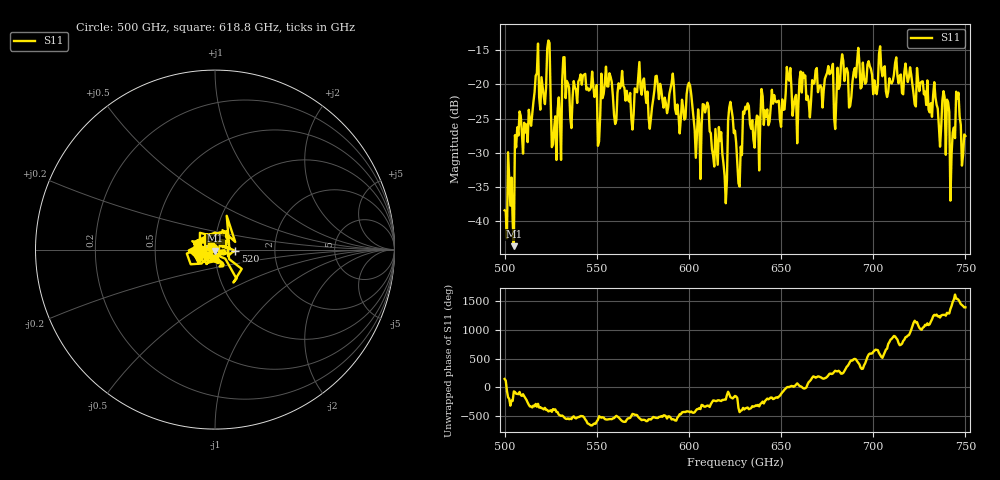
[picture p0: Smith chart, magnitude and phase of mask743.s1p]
!Created with skrf (http://scikit-rf.org).
# GHz S MA R 50.0
!freq magS11 angS11
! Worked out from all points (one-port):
!   401 points, 500 GHz to 750 GHz, reference 50 ohm
!   lowest |S11| = -43.7 dB at 505 GHz (marker M1), VSWR 1.01, Z = 50.2 - j0.626 ohm
!   |S11| at or under -10 dB: start of sweep to end of sweep
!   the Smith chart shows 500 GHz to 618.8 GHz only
!   S11 on the Smith chart (normalised r, x): 500 GHz: 0.98, +0.01; 520 GHz: 1.25, -0.02; 618.8 GHz: 0.96, +0.03
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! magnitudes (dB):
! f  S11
! 500 GHz  -38.5
! 505 GHz  -43.7
! 507.5 GHz  -27.5
! 520 GHz  -18.9
! 523.8 GHz  -13.6
! 526.9 GHz  -26.4
! 531.2 GHz  -19.3
! 542.5 GHz  -18.7
! 550.6 GHz  -29.0
! 562.5 GHz  -20.6
! 579.4 GHz  -25.0
! 590.6 GHz  -19.8
! 593.8 GHz  -22.9
! 600 GHz  -19.8
! 605 GHz  -23.7
! 609.4 GHz  -23.3
! 618.8 GHz  -31.6
! 622.5 GHz  -22.6
! 625 GHz  -26.8
! 627.5 GHz  -35.0
! 630.6 GHz  -23.3
! 636.9 GHz  -24.6
! 656.2 GHz  -24.6
! 680 GHz  -22.2
! 683.8 GHz  -16.6
! 687.5 GHz  -23.1
! 718.8 GHz  -19.6
! 750 GHz  -27.6
